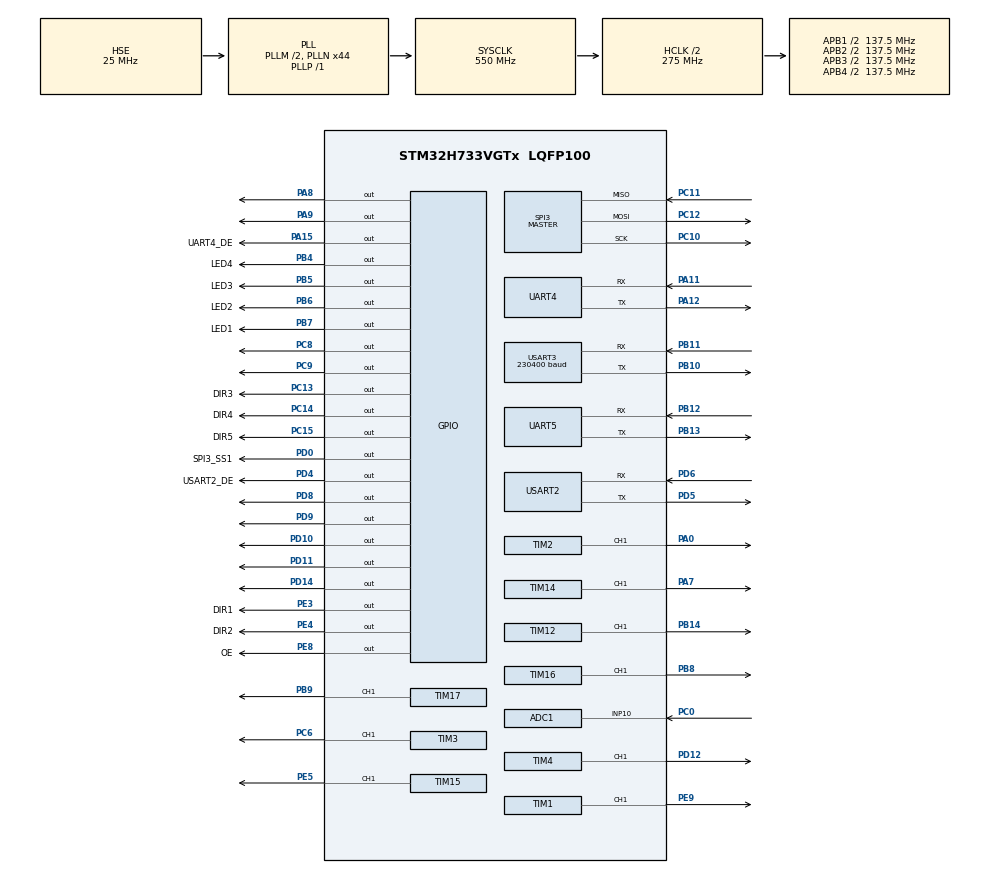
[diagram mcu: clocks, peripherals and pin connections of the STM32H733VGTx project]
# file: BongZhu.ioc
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ADC1.Channel-0\#ChannelRegularConversion=ADC_CHANNEL_10
ADC1.NbrOfConversionFlag=1
ADC1.OffsetNumber-0\#ChannelRegularConversion=ADC_OFFSET_NONE
ADC1.OffsetSignedSaturation-0\#ChannelRegularConversion=DISABLE
ADC1.Rank-0\#ChannelRegularConversion=1
ADC1.SamplingTime-0\#ChannelRegularConversion=ADC_SAMPLETIME_1CYCLE_5
ADC1.master=1
ADC3.Channel-0\#ChannelRegularConversion=ADC_CHANNEL_TEMPSENSOR
ADC3.ContinuousConvMode=ENABLE
ADC3.NbrOfConversionFlag=1
ADC3.OffsetNumber-0\#ChannelRegularConversion=ADC_OFFSET_NONE
ADC3.OffsetSaturation-0\#ChannelRegularConversion=DISABLE
ADC3.OffsetSign-0\#ChannelRegularConversion=ADC3_OFFSET_SIGN_NEGATIVE
ADC3.OffsetSignedSaturation-0\#ChannelRegularConversion=DISABLE
ADC3.Rank-0\#ChannelRegularConversion=1
ADC3.SamplingTime-0\#ChannelRegularConversion=ADC3_SAMPLETIME_12CYCLES_5
CRC.CRCLength=CRC_POLYLENGTH_8B
CRC.DefaultInitValueUse=DEFAULT_INIT_VALUE_DISABLE
CRC.DefaultPolynomialUse=DEFAULT_POLYNOMIAL_DISABLE
CRC.GeneratingPolynomial=X4+X3+X2+X0
CRC.InitValue=0xC4
Mcu.Family=STM32H7
Mcu.Name=STM32H733VGTx
Mcu.Package=LQFP100
NVIC.PriorityGroup=NVIC_PRIORITYGROUP_4
NVIC.USART3_IRQn=true\:0\:0\:false\:false\:true\:true\:true
PA0.Signal=S_TIM2_CH1_ETR
PA11.Mode=Asynchronous
PA11.Signal=UART4_RX
PA12.Mode=Asynchronous
PA12.Signal=UART4_TX
PA13(JTMS/SWDIO).Mode=Trace_Asynchronous_SW
PA13(JTMS/SWDIO).Signal=DEBUG_JTMS-SWDIO
PA14(JTCK/SWCLK).Mode=Trace_Asynchronous_SW
PA14(JTCK/SWCLK).Signal=DEBUG_JTCK-SWCLK
PA15(JTDI).GPIO_Label=UART4_DE
PA15(JTDI).Signal=GPIO_Output
PA3.Signal=S_TIM15_CH2
PA7.Signal=S_TIM14_CH1
PA8.Signal=GPIO_Output
PA9.Signal=GPIO_Output
PB10.Mode=Asynchronous
PB10.Signal=USART3_TX
PB11.Mode=Asynchronous
PB11.Signal=USART3_RX
PB12.Mode=Asynchronous
PB12.Signal=UART5_RX
PB13.Mode=Asynchronous
PB13.Signal=UART5_TX
PB14.Signal=S_TIM12_CH1
PB3(JTDO/TRACESWO).Mode=Trace_Asynchronous_SW
PB3(JTDO/TRACESWO).Signal=DEBUG_JTDO-SWO
PB4(NJTRST).GPIO_Label=LED4
PB4(NJTRST).Signal=GPIO_Output
PB5.GPIO_Label=LED3
PB5.Signal=GPIO_Output
PB6.GPIO_Label=LED2
PB6.Signal=GPIO_Output
PB7.GPIO_Label=LED1
PB7.Signal=GPIO_Output
PB8.Signal=S_TIM16_CH1
PB9.Signal=S_TIM17_CH1
PC0.Signal=ADCx_INP10
PC10.Mode=Full_Duplex_Master
PC10.Signal=SPI3_SCK
PC11.Mode=Full_Duplex_Master
PC11.Signal=SPI3_MISO
PC12.Mode=Full_Duplex_Master
PC12.Signal=SPI3_MOSI
PC13.GPIO_Label=DIR3
PC13.Signal=GPIO_Output
PC14-OSC32_IN.GPIO_Label=DIR4
PC14-OSC32_IN.Signal=GPIO_Output
PC15-OSC32_OUT.GPIO_Label=DIR5
PC15-OSC32_OUT.Signal=GPIO_Output
PC6.Signal=S_TIM3_CH1
PC8.Signal=GPIO_Output
PC9.Signal=GPIO_Output
PD0.GPIO_Label=SPI3_SS1
PD0.Signal=GPIO_Output
PD10.Signal=GPIO_Output
PD11.Signal=GPIO_Output
PD12.Signal=S_TIM4_CH1
PD14.Signal=GPIO_Output
PD4.GPIO_Label=USART2_DE
PD4.Signal=GPIO_Output
PD5.Mode=Asynchronous
PD5.Signal=USART2_TX
PD6.Mode=Asynchronous
PD6.Signal=USART2_RX
PD8.Signal=GPIO_Output
PD9.Signal=GPIO_Output
PE3.GPIO_Label=DIR1
PE3.Signal=GPIO_Output
PE4.GPIO_Label=DIR2
PE4.Signal=GPIO_Output
PE5.Signal=S_TIM15_CH1
PE8.GPIO_Label=OE
PE8.PinState=GPIO_PIN_SET
PE8.Signal=GPIO_Output
PE9.Signal=S_TIM1_CH1
PH0-OSC_IN.Mode=HSE-External-Oscillator
PH0-OSC_IN.Signal=RCC_OSC_IN
PH1-OSC_OUT.Mode=HSE-External-Oscillator
PH1-OSC_OUT.Signal=RCC_OSC_OUT
ProjectManager.HeapSize=0x200
ProjectManager.StackSize=0x400
ProjectManager.TargetToolchain=STM32CubeIDE
RCC.ADCFreq_Value=96000671.38671875
RCC.APB1Freq_Value=137500000
RCC.APB2Freq_Value=137500000
RCC.APB3Freq_Value=137500000
RCC.APB4Freq_Value=137500000
RCC.CortexFreq_Value=550000000
RCC.D1PPRE=RCC_APB3_DIV2
RCC.D2PPRE1=RCC_APB1_DIV2
RCC.D2PPRE2=RCC_APB2_DIV2
RCC.D3PPRE=RCC_APB4_DIV2
RCC.DIVM1=2
RCC.DIVM2=2
RCC.DIVN1=44
RCC.DIVN2=15
RCC.DIVP1=1
RCC.DIVQ1=3
RCC.EnbaleCSS=true
RCC.HCLKFreq_Value=275000000
RCC.HPRE=RCC_HCLK_DIV2
RCC.PLL2FRACN=2950
RCC.PLLFRACN=0
RCC.PLLSourceVirtual=RCC_PLLSOURCE_HSE
RCC.SYSCLKFreq_VALUE=550000000
RCC.SYSCLKSource=RCC_SYSCLKSOURCE_PLLCLK
RCC.USBFreq_Value=183333333.33333334
SH.ADCx_INP10.0=ADC1_INP10,IN10-Single-Ended
SH.S_TIM12_CH1.0=TIM12_CH1,PWM Generation1 CH1
SH.S_TIM14_CH1.0=TIM14_CH1,PWM Generation1 CH1
SH.S_TIM15_CH1.0=TIM15_CH1,PWM Generation1 CH1
SH.S_TIM15_CH2.0=TIM15_CH2
SH.S_TIM16_CH1.0=TIM16_CH1,PWM Generation1 CH1
SH.S_TIM17_CH1.0=TIM17_CH1,PWM Generation1 CH1
SH.S_TIM1_CH1.0=TIM1_CH1,PWM Generation1 CH1
SH.S_TIM2_CH1_ETR.0=TIM2_CH1,PWM Generation1 CH1
SH.S_TIM3_CH1.0=TIM3_CH1,PWM Generation1 CH1
SH.S_TIM4_CH1.0=TIM4_CH1,PWM Generation1 CH1
SPI3.CalculateBaudRate=91.666664 MBits/s
SPI3.Direction=SPI_DIRECTION_2LINES
SPI3.Mode=SPI_MODE_MASTER
SPI3.VirtualType=VM_MASTER
TIM1.AutoReloadPreload=TIM_AUTORELOAD_PRELOAD_ENABLE
TIM1.Channel-PWM\ Generation1\ CH1=TIM_CHANNEL_1
TIM1.Period=10000
TIM1.Prescaler=5500-1
TIM12.AutoReloadPreload=TIM_AUTORELOAD_PRELOAD_ENABLE
TIM12.Channel-PWM\ Generation1\ CH1=TIM_CHANNEL_1
TIM12.Period=1 - 1
TIM12.Prescaler=550 - 1
TIM12.Pulse-PWM\ Generation1\ CH1=500 - 1
TIM13.AutoReloadPreload=TIM_AUTORELOAD_PRELOAD_ENABLE
TIM13.Period=1-1
TIM13.Prescaler=550 - 1
TIM14.AutoReloadPreload=TIM_AUTORELOAD_PRELOAD_ENABLE
TIM14.Channel=TIM_CHANNEL_1
TIM14.Period=1-1
TIM14.Prescaler=550-1
TIM14.Pulse=500-1
TIM15.AutoReloadPreload=TIM_AUTORELOAD_PRELOAD_ENABLE
TIM15.Channel-PWM\ Generation1\ CH1=TIM_CHANNEL_1
TIM15.Period=10000
TIM15.Prescaler=550 - 1
TIM16.AutoReloadPreload=TIM_AUTORELOAD_PRELOAD_ENABLE
TIM16.Channel=TIM_CHANNEL_1
TIM16.Period=1-1
TIM16.Prescaler=550-1
TIM16.Pulse=500-1
TIM17.AutoReloadPreload=TIM_AUTORELOAD_PRELOAD_ENABLE
TIM17.Channel=TIM_CHANNEL_1
TIM17.Period=1000
TIM17.Prescaler=5500-1
TIM17.Pulse=500-1
TIM2.AutoReloadPreload=TIM_AUTORELOAD_PRELOAD_ENABLE
TIM2.Channel-PWM\ Generation1\ CH1=TIM_CHANNEL_1
TIM2.Period=10000
TIM2.Prescaler=5500- 1
TIM23.Prescaler=275-1
TIM3.AutoReloadPreload=TIM_AUTORELOAD_PRELOAD_ENABLE
TIM3.Channel-PWM\ Generation1\ CH1=TIM_CHANNEL_1
TIM3.Period=10000
TIM3.Prescaler=5500 - 1
TIM4.AutoReloadPreload=TIM_AUTORELOAD_PRELOAD_ENABLE
TIM4.Channel-PWM\ Generation1\ CH1=TIM_CHANNEL_1
TIM4.Period=10000
TIM4.Prescaler=5500-1
USART2.VirtualMode-Asynchronous=VM_ASYNC
USART3.BaudRate=230400
USART3.VirtualMode-Asynchronous=VM_ASYNC
VP_ADC3_TempSens_Input.Mode=IN-TempSens
VP_CRC_VS_CRC.Mode=CRC_Activate
VP_TIM12_VS_ClockSourceINT.Mode=Internal
VP_TIM13_VS_ClockSourceINT.Mode=Enable_Timer
VP_TIM14_VS_ClockSourceINT.Mode=Enable_Timer
VP_TIM15_VS_ClockSourceINT.Mode=Internal
VP_TIM16_VS_ClockSourceINT.Mode=Enable_Timer
VP_TIM17_VS_ClockSourceINT.Mode=Enable_Timer
VP_TIM1_VS_ClockSourceINT.Mode=Internal
VP_TIM23_VS_ClockSourceINT.Mode=Internal
VP_TIM24_VS_ClockSourceINT.Mode=Internal
VP_TIM2_VS_ClockSourceINT.Mode=Internal
VP_TIM3_VS_ClockSourceINT.Mode=Internal
VP_TIM4_VS_ClockSourceINT.Mode=Internal
board=custom

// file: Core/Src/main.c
/* USER CODE BEGIN Header */
/**
 ******************************************************************************
 * @file           : main.c
 * @brief          : Main program body
 ******************************************************************************
 * @attention
 *
 * Copyright (c) 2022 STMicroelectronics.
 * All rights reserved.
 *
 * This software is licensed under terms that can be found in the LICENSE file
 * in the root directory of this software component.
 * If no LICENSE file comes with this software, it is provided AS-IS.
 *
 ******************************************************************************
 */
/* USER CODE END Header */
#include "main.h"
#include "adc.h"
#include "crc.h"
#include "spi.h"
#include "tim.h"
#include "usart.h"
#include "gpio.h"

/* USER CODE BEGIN Includes */
#include <Library/AMT21.h>
#include <Library/ARMsProtocol.h>
#include <Library/Trajectory.h>
#include <Library/KalmanFilter.h>
#include <Library/Kinematic.h>
#include <Library/Motor.h>
#include <Library/PID.h>
#include "stdio.h"
#include "math.h"
#include "stm32h7xx_it.h"
/* USER CODE END Includes */

/* USER CODE BEGIN PD */
#define KALMAN_Q 10
#define KALMAN_R 0.01
/* USER CODE END PD */

/* USER CODE BEGIN PV */

/*
 * Struct
 */
AMT21 encoders[5];
Stepper_Motor steppers[5];
Servo_Motor servo_motor;
PIDController position_pid_controller[5];
PIDController velocity_pid_controller[5];
KalmanFilter kalman_filter[5];
QuinticTrajectory quintic_trajectory[5];
/*
 * ARMsProtocol Var
 */
extern int32_t encoder_config[5];
extern double delta_khe[5];
extern double desired_position[5];
extern double max_desired_position[5];
extern double min_desired_position[5];
extern ARMsProtocol_HandleTypedef ARMsProtocol_h1;
extern ARMsProtocol_DATA ARMsProtocol_Data;

extern uint8_t servo_flag;
extern double servo_degree;
/*
 * Main Var
 */
double cascade_out[5] = { 0 };
double motor_vel[5] = { 0 };
double desired_velocity[5] = { 0 };
double motor_config[5] = { 0 };
double prev_motor_config[5] = { 0 };
double desired_motor_position[5] = { 0 };
double checking_value = 0.0;

double delta_khe[5] = {0};
/* USER CODE END PV */

void SystemClock_Config(void);
void PeriphCommonClock_Config(void);

int main(void)
{

  /* MCU Configuration--------------------------------------------------------*/

  /* Reset of all peripherals, Initializes the Flash interface and the Systick. */
  HAL_Init();

  /* Configure the system clock */
  SystemClock_Config();

/* Configure the peripherals common clocks */
  PeriphCommonClock_Config();

  /* Initialize all configured peripherals */
  MX_GPIO_Init();
  MX_ADC1_Init();
  MX_ADC3_Init();
  MX_SPI3_Init();
  MX_TIM1_Init();
  MX_TIM2_Init();
  MX_TIM3_Init();
  MX_TIM4_Init();
  MX_TIM12_Init();
  MX_TIM13_Init();
  MX_TIM14_Init();
  MX_TIM15_Init();
  MX_TIM16_Init();
  MX_TIM17_Init();
  MX_UART4_Init();
  MX_UART5_Init();
  MX_USART2_UART_Init();
  MX_USART3_UART_Init();
  MX_TIM23_Init();
  MX_CRC_Init();
  MX_TIM24_Init();
  /* USER CODE BEGIN 2 */
	ARMsProtocol_FUNC_Init();

	/*
	 * Servo Initialise
	 */
	HAL_GPIO_WritePin(OE_GPIO_Port, OE_Pin, 1);
	servo_initialise(&servo_motor, &htim17, TIM_CHANNEL_1);
	/*
	 * Encoder Initialise
	 */
	AMT21_initialise(&encoders[0], &huart2, 0x2C, USART2_DE_GPIO_Port,
	USART2_DE_Pin);
	AMT21_initialise(&encoders[1], &huart2, 0x70, USART2_DE_GPIO_Port,
	USART2_DE_Pin);
	AMT21_initialise(&encoders[2], &huart2, 0x54, USART2_DE_GPIO_Port,
	USART2_DE_Pin);
	AMT21_initialise(&encoders[4], &huart2, 0xE8, USART2_DE_GPIO_Port,
	USART2_DE_Pin);
	AMT21_initialise(&encoders[3], &huart2, 0xB4, USART2_DE_GPIO_Port,
	USART2_DE_Pin);
	/*
	 * Stepper Initialise
	 */
	stepper_initialise(&steppers[0], &htim1, TIM_CHANNEL_1, DIR1_GPIO_Port,
	DIR1_Pin, 1); //swap 0 -> 1
	stepper_initialise(&steppers[1], &htim2, TIM_CHANNEL_1, DIR2_GPIO_Port,
	DIR2_Pin, 1);
	stepper_initialise(&steppers[2], &htim3, TIM_CHANNEL_1, DIR3_GPIO_Port,
	DIR3_Pin, 0); //swap 1 -> 0
	stepper_initialise(&steppers[4], &htim4, TIM_CHANNEL_1, DIR4_GPIO_Port,
	DIR4_Pin, 0);
	stepper_initialise(&steppers[3], &htim15, TIM_CHANNEL_1, DIR5_GPIO_Port,
	DIR5_Pin, 1);
	/*
	 * Kalman Filter Initialise
	 */
	KalmanFilter_initialise(&kalman_filter[0], 0, 0, 1, 0, 0, 1, KALMAN_R,
	KALMAN_Q);
	KalmanFilter_initialise(&kalman_filter[1], 0, 0, 1, 0, 0, 1, KALMAN_R,
	KALMAN_Q);
	KalmanFilter_initialise(&kalman_filter[2], 0, 0, 1, 0, 0, 1, KALMAN_R,
	KALMAN_Q);
	KalmanFilter_initialise(&kalman_filter[3], 0, 0, 1, 0, 0, 1, KALMAN_R,
	KALMAN_Q);
	KalmanFilter_initialise(&kalman_filter[4], 0, 0, 1, 0, 0, 1, KALMAN_R,
	KALMAN_Q);
	/*
	 * Position Pid Initialise
	 */
	/*
	 * Feed-Forward Control
	 */
//	PIDController_initialise(&position_pid_controller[0], 40, 0, 0);
////	PIDController_initialise(&position_pid_controller[1], 42.5, 0, 5);
//	PIDController_initialise(&position_pid_controller[1], 40, 0, 5);
//	PIDController_initialise(&position_pid_controller[2], 20, 0, 5);
//	PIDController_initialise(&position_pid_controller[3], 40, 0, 0);
//	PIDController_initialise(&position_pid_controller[4], 40, 0, 0);
	/*
	 * Cascade Control
	 */
	PIDController_initialise(&position_pid_controller[0], 60, 0, 0); //120
	PIDController_initialise(&position_pid_controller[1], 15, 0, 0); //45
	PIDController_initialise(&position_pid_controller[2], 15, 0, 0); // 40
	PIDController_initialise(&position_pid_controller[3], 10, 0, 0); //25
	PIDController_initialise(&position_pid_controller[4], 25, 0, 0); //25
	/*
	 *  100
	 *  30
	 *  30
	 *  25
	 *  25
	 */

	/*
	 * Velocity Pid Initialise
	 */
	/*
	 * Cascade Control
	 */
	PIDController_initialise(&velocity_pid_controller[0], 60, 0, 0); //100 0.05 . 80
	PIDController_initialise(&velocity_pid_controller[1], 40, 0, 0); //60 0.05
	PIDController_initialise(&velocity_pid_controller[2], 10, 0, 0); //10
	PIDController_initialise(&velocity_pid_controller[3], 5	, 0, 0); //1
	PIDController_initialise(&velocity_pid_controller[4], 15, 0, 0); //1
	/*
	 *  80
	 *  40
	 *  10
	 *  7.5
	 *  7.5
	 */
	PIDController_set_limit(&velocity_pid_controller[0], 1000, 4000);
	PIDController_set_limit(&velocity_pid_controller[1], 1000, 3000);
	PIDController_set_limit(&velocity_pid_controller[2], 1000, 1000);
	PIDController_set_limit(&velocity_pid_controller[3], 1000, 4000);
	PIDController_set_limit(&velocity_pid_controller[4], 1000, 4000);
	/*
	 * Quintic Trajectory Following Initialise
	 */
	for (int i = 0; i < 5; i++) {
		QuinticTrajectory_initialise(&quintic_trajectory[i], 0.01);
	}
	int8_t j_num = 0;
	uint32_t timestamp1 = 0;
	uint32_t timestamp2 = 0;
	uint32_t timestamp3 = 0;
	HAL_StatusTypeDef rep = HAL_ERROR;
	int32_t encoder_unwrap_value[5] = { 0 };
	double q0[5] = {-2, 8, -10, 4, 4};
	double q1[5] = {2, -16, 8, -2.5, -2.5};
	double v0[5] = {0};
	double v1[5] = {0};
	double ac0[5] = {0};
	double ac1[5] = {0};
	double tf = 10;
	int8_t traj_buf = 0;
  /* USER CODE END 2 */

  /* Infinite loop */
  /* USER CODE BEGIN WHILE */
	while (1) {
		if ((delta_khe[0] != 0)||
				(delta_khe[1] != 0)||
				(delta_khe[2] != 0)||
				(delta_khe[3] != 0)||
				(delta_khe[4] != 0)){
			/*
			 * Tai-Ban Cartesian Jog
			 */
			double joint_config[5] = {0};
			double delta_q[5] = {0};
			joint_config[0] = desired_position[0] * (9.0/25.0);
			joint_config[1] = desired_position[1] / 27.0;
			joint_config[2] = asin(desired_position[2]/22.5);
			joint_config[3] = (desired_position[3] + desired_position[4]) * 0.1125;
			joint_config[4] = (desired_position[3] - desired_position[4])/8.0;
			IVK(joint_config, delta_khe, delta_q);
			for (int i = 0; i < 5; i++) {
				delta_khe[i] = 0;
				desired_position[i] += delta_q[i];
			}
		}
		if (HAL_GetTick() - timestamp1 >= 10) {
			/*
			 * UART
			 */
			timestamp1 = HAL_GetTick();
			ARMsProtocol_FUNC_Interface();
			if (servo_flag){
				/*
				 * Set Servo Degree
				 */
				servo_set_degree(&servo_motor, servo_degree);
				servo_flag = 0;
			}
		}
		if (HAL_GetTick() - timestamp2 >= 2) {
			/*
			 * Read Encoders
			 */
			timestamp2 = HAL_GetTick();
			rep = HAL_ERROR;
			encoder_unwrap_value[j_num] = 0;
			while (1) {
				AMT21_read_value(&(encoders[j_num]));
				rep = AMT21_check_value(&(encoders[j_num]));
				if (rep == HAL_OK) {
					encoder_unwrap_value[j_num] = AMT21_unwrap(
							(int32_t) encoders[j_num].position,
							(int32_t) encoders[j_num].prev_position);
					encoders[j_num].prev_position = encoders[j_num].position;
					break;
				}
			}
			if ((j_num == 0) | (j_num == 2) | (j_num == 3)) {
				encoder_unwrap_value[j_num] = encoder_unwrap_value[j_num] * -1;
			}
			encoder_config[j_num] = encoder_config[j_num]
					+ encoder_unwrap_value[j_num];
			j_num++;
			if (j_num == 5) {
				j_num = 0;
			}
		}
		if (HAL_GetTick() - timestamp3 >= 10) {
			/*
			 * Control Loop
			 */
			timestamp3 = HAL_GetTick();
			if (quintic_trajectory[0].is_end) {
				if (traj_buf == 0) {
					for (int i =0; i <5 ;i ++){
						QuinticTrajectory_cal_and_set_coeff(&(quintic_trajectory[i]), q0[i], q1[i], v0[i], v1[i], ac0[i], ac1[i], tf);
					}
					traj_buf = 1;
				} else if (traj_buf == 1) {
					for (int i =0; i <5 ;i ++){
						QuinticTrajectory_cal_and_set_coeff(&(quintic_trajectory[i]), q1[i], q0[i], v0[i], v1[i], ac0[i], ac1[i], tf);
					}
					traj_buf = 0;
				}
			}
			motor_config[0] = ((2 * M_PI * encoder_config[0]) / 16384.0)
					* (25.0 / 9.0);
			motor_config[1] = ((2 * M_PI * encoder_config[1]) / 16384.0) * 27.0;
			motor_config[2] = 22.5
					* sin((2 * M_PI * encoder_config[2]) / 16384.0);
			motor_config[3] = (2 * M_PI * encoder_config[3]) / 16384.0; //checked
			motor_config[4] = (2 * M_PI * encoder_config[4]) / 16384.0; //checked
			/*
			 * Trajectory Update
			 */
			for (int i = 0; i <5; i++){
//				QuinticTrajectory_update(&(quintic_trajectory[i]));
//				desired_position[i] = quintic_trajectory[i].pos_out;
//				desired_velocity[i] = quintic_trajectory[i].vel_out;
				KalmanFilter_Update(&(kalman_filter[i]), motor_config[i]);
			}
			/*
			 * Joint Limit
			 */
//			for (int i = 0; i < 5; i++) {
//				if (desired_position[i] >= max_desired_position[i]) {
//					desired_position[i] = max_desired_position[i];
//				}
//				if (desired_position[i] <= min_desired_position[i]) {
//					desired_position[i] = min_desired_position[i];
//				}
//			}
			/*
			 * Cascade Controller
			 */
			for (int i = 0	; i < 5; i++) {
				cascade_out[i] = Cascade_PIDController_update(&(position_pid_controller[i]),
						&(velocity_pid_controller[i]),
						&(kalman_filter[i]), desired_position[i],
						desired_velocity[i]);
			}
			for (int i = 0; i < 5; i++) {
				stepper_set_speed(&steppers[i], cascade_out[i]);
			}
		}
    /* USER CODE END WHILE */

	}
}

void SystemClock_Config(void)
{
  RCC_OscInitTypeDef RCC_OscInitStruct = {0};
  RCC_ClkInitTypeDef RCC_ClkInitStruct = {0};

  /** Supply configuration update enable
  */
  HAL_PWREx_ConfigSupply(PWR_LDO_SUPPLY);
  /** Configure the main internal regulator output voltage
  */
  __HAL_PWR_VOLTAGESCALING_CONFIG(PWR_REGULATOR_VOLTAGE_SCALE0);

  while(!__HAL_PWR_GET_FLAG(PWR_FLAG_VOSRDY)) {}
  /** Macro to configure the PLL clock source
  */
  __HAL_RCC_PLL_PLLSOURCE_CONFIG(RCC_PLLSOURCE_HSE);
  /** Initializes the RCC Oscillators according to the specified parameters
  * in the RCC_OscInitTypeDef structure.
  */
  RCC_OscInitStruct.OscillatorType = RCC_OSCILLATORTYPE_HSE;
  RCC_OscInitStruct.HSEState = RCC_HSE_ON;
  RCC_OscInitStruct.PLL.PLLState = RCC_PLL_ON;
  RCC_OscInitStruct.PLL.PLLSource = RCC_PLLSOURCE_HSE;
  RCC_OscInitStruct.PLL.PLLM = 2;
  RCC_OscInitStruct.PLL.PLLN = 44;
  RCC_OscInitStruct.PLL.PLLP = 1;
  RCC_OscInitStruct.PLL.PLLQ = 3;
  RCC_OscInitStruct.PLL.PLLR = 2;
  RCC_OscInitStruct.PLL.PLLRGE = RCC_PLL1VCIRANGE_3;
  RCC_OscInitStruct.PLL.PLLVCOSEL = RCC_PLL1VCOWIDE;
  RCC_OscInitStruct.PLL.PLLFRACN = 0;
  if (HAL_RCC_OscConfig(&RCC_OscInitStruct) != HAL_OK)
  {
    Error_Handler();
  }
  /** Initializes the CPU, AHB and APB buses clocks
  */
  RCC_ClkInitStruct.ClockType = RCC_CLOCKTYPE_HCLK|RCC_CLOCKTYPE_SYSCLK
                              |RCC_CLOCKTYPE_PCLK1|RCC_CLOCKTYPE_PCLK2
                              |RCC_CLOCKTYPE_D3PCLK1|RCC_CLOCKTYPE_D1PCLK1;
  RCC_ClkInitStruct.SYSCLKSource = RCC_SYSCLKSOURCE_PLLCLK;
  RCC_ClkInitStruct.SYSCLKDivider = RCC_SYSCLK_DIV1;
  RCC_ClkInitStruct.AHBCLKDivider = RCC_HCLK_DIV2;
  RCC_ClkInitStruct.APB3CLKDivider = RCC_APB3_DIV2;
  RCC_ClkInitStruct.APB1CLKDivider = RCC_APB1_DIV2;
  RCC_ClkInitStruct.APB2CLKDivider = RCC_APB2_DIV2;
  RCC_ClkInitStruct.APB4CLKDivider = RCC_APB4_DIV2;

  if (HAL_RCC_ClockConfig(&RCC_ClkInitStruct, FLASH_LATENCY_3) != HAL_OK)
  {
    Error_Handler();
  }
  /** Enables the Clock Security System
  */
  HAL_RCC_EnableCSS();
}

void PeriphCommonClock_Config(void)
{
  RCC_PeriphCLKInitTypeDef PeriphClkInitStruct = {0};

  /** Initializes the peripherals clock
  */
  PeriphClkInitStruct.PeriphClockSelection = RCC_PERIPHCLK_ADC;
  PeriphClkInitStruct.PLL2.PLL2M = 2;
  PeriphClkInitStruct.PLL2.PLL2N = 15;
  PeriphClkInitStruct.PLL2.PLL2P = 2;
  PeriphClkInitStruct.PLL2.PLL2Q = 2;
  PeriphClkInitStruct.PLL2.PLL2R = 2;
  PeriphClkInitStruct.PLL2.PLL2RGE = RCC_PLL2VCIRANGE_3;
  PeriphClkInitStruct.PLL2.PLL2VCOSEL = RCC_PLL2VCOWIDE;
  PeriphClkInitStruct.PLL2.PLL2FRACN = 2950;
  PeriphClkInitStruct.AdcClockSelection = RCC_ADCCLKSOURCE_PLL2;
  if (HAL_RCCEx_PeriphCLKConfig(&PeriphClkInitStruct) != HAL_OK)
  {
    Error_Handler();
  }
}

void Error_Handler(void)
{
	__disable_irq();
	while (1) {
	}
}
